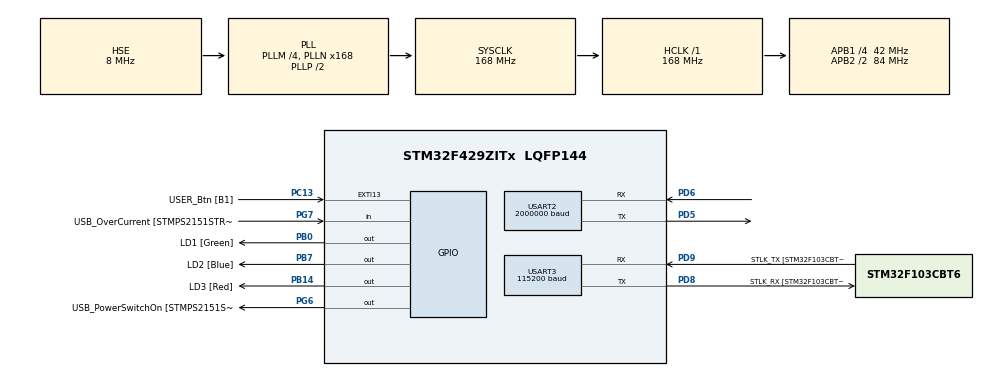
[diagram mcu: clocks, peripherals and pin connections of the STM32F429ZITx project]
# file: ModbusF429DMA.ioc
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Dma.Request0=USART3_RX
Dma.Request1=USART3_TX
Dma.Request2=USART2_RX
Dma.Request3=USART2_TX
Dma.USART2_RX.2.Direction=DMA_PERIPH_TO_MEMORY
Dma.USART2_RX.2.FIFOMode=DMA_FIFOMODE_DISABLE
Dma.USART2_RX.2.Instance=DMA1_Stream5
Dma.USART2_RX.2.MemDataAlignment=DMA_MDATAALIGN_BYTE
Dma.USART2_RX.2.MemInc=DMA_MINC_ENABLE
Dma.USART2_RX.2.Mode=DMA_NORMAL
Dma.USART2_RX.2.PeriphDataAlignment=DMA_PDATAALIGN_BYTE
Dma.USART2_RX.2.PeriphInc=DMA_PINC_DISABLE
Dma.USART2_RX.2.Priority=DMA_PRIORITY_LOW
Dma.USART2_TX.3.Direction=DMA_MEMORY_TO_PERIPH
Dma.USART2_TX.3.FIFOMode=DMA_FIFOMODE_DISABLE
Dma.USART2_TX.3.Instance=DMA1_Stream6
Dma.USART2_TX.3.MemDataAlignment=DMA_MDATAALIGN_BYTE
Dma.USART2_TX.3.MemInc=DMA_MINC_ENABLE
Dma.USART2_TX.3.Mode=DMA_NORMAL
Dma.USART2_TX.3.PeriphDataAlignment=DMA_PDATAALIGN_BYTE
Dma.USART2_TX.3.PeriphInc=DMA_PINC_DISABLE
Dma.USART2_TX.3.Priority=DMA_PRIORITY_LOW
Dma.USART3_RX.0.Direction=DMA_PERIPH_TO_MEMORY
Dma.USART3_RX.0.FIFOMode=DMA_FIFOMODE_DISABLE
Dma.USART3_RX.0.Instance=DMA1_Stream1
Dma.USART3_RX.0.MemDataAlignment=DMA_MDATAALIGN_BYTE
Dma.USART3_RX.0.MemInc=DMA_MINC_ENABLE
Dma.USART3_RX.0.Mode=DMA_NORMAL
Dma.USART3_RX.0.PeriphDataAlignment=DMA_PDATAALIGN_BYTE
Dma.USART3_RX.0.PeriphInc=DMA_PINC_DISABLE
Dma.USART3_RX.0.Priority=DMA_PRIORITY_LOW
Dma.USART3_TX.1.Direction=DMA_MEMORY_TO_PERIPH
Dma.USART3_TX.1.FIFOMode=DMA_FIFOMODE_DISABLE
Dma.USART3_TX.1.Instance=DMA1_Stream3
Dma.USART3_TX.1.MemDataAlignment=DMA_MDATAALIGN_BYTE
Dma.USART3_TX.1.MemInc=DMA_MINC_ENABLE
Dma.USART3_TX.1.Mode=DMA_NORMAL
Dma.USART3_TX.1.PeriphDataAlignment=DMA_PDATAALIGN_BYTE
Dma.USART3_TX.1.PeriphInc=DMA_PINC_DISABLE
Dma.USART3_TX.1.Priority=DMA_PRIORITY_LOW
FREERTOS.Tasks01=defaultTask,24,256,StartDefaultTask,Default,NULL,Dynamic,NULL,NULL;myTaskMaster,8,256,StartTaskMaster,Default,NULL,Dynamic,NULL,NULL;myTaskSlave,8,256,StartTaskSlave,Default,NULL,Dynamic,NULL,NULL
FREERTOS.configMINIMAL_STACK_SIZE=256
FREERTOS.configTOTAL_HEAP_SIZE=15360
Mcu.Family=STM32F4
Mcu.Name=STM32F429ZITx
Mcu.Package=LQFP144
NVIC.DMA1_Stream1_IRQn=true\:5\:0\:false\:false\:true\:true\:false\:true
NVIC.DMA1_Stream3_IRQn=true\:5\:0\:false\:false\:true\:true\:false\:true
NVIC.DMA1_Stream5_IRQn=true\:5\:0\:false\:false\:true\:true\:false\:true
NVIC.DMA1_Stream6_IRQn=true\:5\:0\:false\:false\:true\:true\:false\:true
NVIC.PriorityGroup=NVIC_PRIORITYGROUP_4
NVIC.TIM8_TRG_COM_TIM14_IRQn=true\:0\:0\:false\:false\:true\:false\:false\:true
NVIC.TimeBase=TIM8_TRG_COM_TIM14_IRQn
NVIC.TimeBaseIP=TIM14
NVIC.USART2_IRQn=true\:5\:0\:false\:false\:true\:true\:true\:true
NVIC.USART3_IRQn=true\:5\:0\:false\:false\:true\:true\:true\:true
PA1.GPIO_Label=RMII_REF_CLK [LAN8742A-CZ-TR_REFCLK0]
PA1.Signal=ETH_REF_CLK
PA10.GPIO_Label=USB_ID
PA10.Signal=USB_OTG_FS_ID
PA11.GPIO_Label=USB_DM
PA11.Signal=USB_OTG_FS_DM
PA12.GPIO_Label=USB_DP
PA12.Signal=USB_OTG_FS_DP
PA13.GPIO_Label=TMS
PA13.Mode=Trace_Asynchronous_SW
PA13.Signal=SYS_JTMS-SWDIO
PA14.GPIO_Label=TCK
PA14.Mode=Trace_Asynchronous_SW
PA14.Signal=SYS_JTCK-SWCLK
PA2.GPIO_Label=RMII_MDIO [LAN8742A-CZ-TR_MDIO]
PA2.Signal=ETH_MDIO
PA7.GPIO_Label=RMII_CRS_DV [LAN8742A-CZ-TR_CRS_DV]
PA7.Signal=ETH_CRS_DV
PA8.GPIO_Label=USB_SOF [TP1]
PA8.Signal=USB_OTG_FS_SOF
PA9.GPIO_Label=USB_VBUS
PA9.Signal=USB_OTG_FS_VBUS
PB0.GPIO_Label=LD1 [Green]
PB0.Signal=GPIO_Output
PB13.GPIO_Label=RMII_TXD1 [LAN8742A-CZ-TR_TXD1]
PB13.Signal=ETH_TXD1
PB14.GPIO_Label=LD3 [Red]
PB14.Signal=GPIO_Output
PB3.Mode=Trace_Asynchronous_SW
PB3.Signal=SYS_JTDO-SWO
PB7.GPIO_Label=LD2 [Blue]
PB7.Signal=GPIO_Output
PC1.GPIO_Label=RMII_MDC [LAN8742A-CZ-TR_MDC]
PC1.Signal=ETH_MDC
PC13.GPIO_Label=USER_Btn [B1]
PC13.Signal=GPXTI13
PC14/OSC32_IN.Mode=LSE-External-Oscillator
PC14/OSC32_IN.Signal=RCC_OSC32_IN
PC15/OSC32_OUT.Mode=LSE-External-Oscillator
PC15/OSC32_OUT.Signal=RCC_OSC32_OUT
PC4.GPIO_Label=RMII_RXD0 [LAN8742A-CZ-TR_RXD0]
PC4.Signal=ETH_RXD0
PC5.GPIO_Label=RMII_RXD1 [LAN8742A-CZ-TR_RXD1]
PC5.Signal=ETH_RXD1
PD5.Mode=Asynchronous
PD5.Signal=USART2_TX
PD6.Mode=Asynchronous
PD6.Signal=USART2_RX
PD8.GPIO_Label=STLK_RX [STM32F103CBT6_PA3]
PD8.Mode=Asynchronous
PD8.Signal=USART3_TX
PD9.GPIO_Label=STLK_TX [STM32F103CBT6_PA2]
PD9.Mode=Asynchronous
PD9.Signal=USART3_RX
PG11.GPIO_Label=RMII_TX_EN [LAN8742A-CZ-TR_TXEN]
PG11.Signal=ETH_TX_EN
PG13.GPIO_Label=RMII_TXD0 [LAN8742A-CZ-TR_TXD0]
PG13.Signal=ETH_TXD0
PG6.GPIO_Label=USB_PowerSwitchOn [STMPS2151STR_EN]
PG6.Signal=GPIO_Output
PG7.GPIO_Label=USB_OverCurrent [STMPS2151STR_FAULT]
PG7.Signal=GPIO_Input
PH0/OSC_IN.GPIO_Label=MCO [STM32F103CBT6_PA8]
PH0/OSC_IN.Mode=HSE-External-Clock-Source
PH0/OSC_IN.Signal=RCC_OSC_IN
PH1/OSC_OUT.Mode=HSE-External-Clock-Source
PH1/OSC_OUT.Signal=RCC_OSC_OUT
ProjectManager.HeapSize=0x200
ProjectManager.StackSize=0x400
ProjectManager.TargetToolchain=STM32CubeIDE
RCC.48MHZClocksFreq_Value=48000000
RCC.AHBFreq_Value=168000000
RCC.APB1CLKDivider=RCC_HCLK_DIV4
RCC.APB1Freq_Value=42000000
RCC.APB1TimFreq_Value=84000000
RCC.APB2CLKDivider=RCC_HCLK_DIV2
RCC.APB2Freq_Value=84000000
RCC.APB2TimCLKDivider=2
RCC.APB2TimFreq_Value=168000000
RCC.CortexFreq_Value=168000000
RCC.HCLKFreq_Value=168000000
RCC.HSE_VALUE=8000000
RCC.HSI_VALUE=16000000
RCC.PLLM=4
RCC.PLLMUL=RCC_PLL_MUL9
RCC.PLLN=168
RCC.PLLQ=7
RCC.PLLSourceVirtual=RCC_PLLSOURCE_HSE
RCC.PRESCALERUSB=RCC_USBCLKSOURCE_PLL_DIV1_5
RCC.SYSCLKFreq_VALUE=168000000
RCC.SYSCLKSource=RCC_SYSCLKSOURCE_PLLCLK
RCC.SYSCLKSourceVirtual=RCC_SYSCLKSOURCE_PLLCLK
RCC.USBFreq_Value=48000000
RCC.VCOOutputFreq_Value=336000000
USART2.BaudRate=2000000
USART2.OverSampling=UART_OVERSAMPLING_16
USART2.VirtualMode=VM_ASYNC
USART3.BaudRate=115200
USART3.VirtualMode=VM_ASYNC
VP_FREERTOS_VS_CMSIS_V2.Mode=CMSIS_V2
VP_SYS_VS_tim14.Mode=TIM14
board=NUCLEO-F429ZI

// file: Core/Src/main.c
/* USER CODE BEGIN Header */
/**
  ******************************************************************************
  * @file           : main.c
  * @brief          : Main program body
  ******************************************************************************
  * @attention
  *
  * <h2><center>&copy; Copyright (c) 2021 STMicroelectronics.
  * All rights reserved.</center></h2>
  *
  * This software component is licensed by ST under BSD 3-Clause license,
  * the "License"; You may not use this file except in compliance with the
  * License. You may obtain a copy of the License at:
  *                        opensource.org/licenses/BSD-3-Clause
  *
  ******************************************************************************
  */
/* USER CODE END Header */
#include "main.h"
#include "cmsis_os.h"
#include "dma.h"
#include "usart.h"
#include "gpio.h"

void SystemClock_Config(void);
void MX_FREERTOS_Init(void);
/* USER CODE BEGIN PFP */
uint8_t test[]="alejandro\n";
/* USER CODE END PFP */

/* USER CODE BEGIN 0 */
modbusHandler_t ModbusH;
uint16_t ModbusDATA[128];
modbusHandler_t ModbusH2;
uint16_t ModbusDATA2[128];

#if defined(__GNUC__)
int _write(int fd, char * ptr, int len)
{
  //HAL_UART_Transmit(&huart1, (uint8_t *) ptr, len, HAL_MAX_DELAY);
  for (int i = 0; i < len; i++)
	  ITM_SendChar(*(ptr+i));
  return len;
}
#endif

/* USER CODE END 0 */

int main(void)
{

  /* MCU Configuration--------------------------------------------------------*/

  /* Reset of all peripherals, Initializes the Flash interface and the Systick. */
  HAL_Init();

  /* Configure the system clock */
  SystemClock_Config();

  /* Initialize all configured peripherals */
  MX_GPIO_Init();
  MX_DMA_Init();
  MX_USART3_UART_Init();
  MX_USART2_UART_Init();
  /* USER CODE BEGIN 2 */

/* Slave initialization */

    ModbusH.uModbusType = MB_SLAVE;
    ModbusH.port =  &huart3;
    ModbusH.u8id = 1; // For master it must be 0
    ModbusH.u16timeOut = 1000;
    ModbusH.EN_Port = NULL;
    ModbusH.EN_Port = NULL;
    ModbusH.EN_Pin = 0;
    ModbusH.u16regs = ModbusDATA;
    ModbusH.u16regsize= sizeof(ModbusDATA)/sizeof(ModbusDATA[0]);
    ModbusH.xTypeHW = USART_HW_DMA;
    //Initialize Modbus library
    ModbusInit(&ModbusH);
    //Start capturing traffic on serial Port
    ModbusStart(&ModbusH);

/***********/

/* Master initialization */

    ModbusH2.uModbusType = MB_MASTER;
    ModbusH2.port =  &huart2;
    ModbusH2.u8id = 0; // For master it must be 0
    ModbusH2.u16timeOut = 1000;
    ModbusH2.EN_Port = NULL;
    ModbusH2.EN_Port = NULL;
    ModbusH2.EN_Pin = 0;
    ModbusH2.u16regs = ModbusDATA2;
    ModbusH2.u16regsize= sizeof(ModbusDATA2)/sizeof(ModbusDATA2[0]);
    ModbusH2.xTypeHW = USART_HW_DMA;
    //Initialize Modbus library
    ModbusInit(&ModbusH2);
    //Start capturing traffic on serial Port
    ModbusStart(&ModbusH2);
/***********/

  /* USER CODE END 2 */

  /* Init scheduler */
  osKernelInitialize();  /* Call init function for freertos objects (in freertos.c) */
  MX_FREERTOS_Init();
  /* Start scheduler */
  osKernelStart();

  /* We should never get here as control is now taken by the scheduler */
  /* Infinite loop */
  while (1)
  {

  }
}

void SystemClock_Config(void)
{
  RCC_OscInitTypeDef RCC_OscInitStruct = {0};
  RCC_ClkInitTypeDef RCC_ClkInitStruct = {0};

  /** Configure the main internal regulator output voltage
  */
  __HAL_RCC_PWR_CLK_ENABLE();
  __HAL_PWR_VOLTAGESCALING_CONFIG(PWR_REGULATOR_VOLTAGE_SCALE1);
  /** Initializes the RCC Oscillators according to the specified parameters
  * in the RCC_OscInitTypeDef structure.
  */
  RCC_OscInitStruct.OscillatorType = RCC_OSCILLATORTYPE_HSE;
  RCC_OscInitStruct.HSEState = RCC_HSE_BYPASS;
  RCC_OscInitStruct.PLL.PLLState = RCC_PLL_ON;
  RCC_OscInitStruct.PLL.PLLSource = RCC_PLLSOURCE_HSE;
  RCC_OscInitStruct.PLL.PLLM = 4;
  RCC_OscInitStruct.PLL.PLLN = 168;
  RCC_OscInitStruct.PLL.PLLP = RCC_PLLP_DIV2;
  RCC_OscInitStruct.PLL.PLLQ = 7;
  if (HAL_RCC_OscConfig(&RCC_OscInitStruct) != HAL_OK)
  {
    Error_Handler();
  }
  /** Initializes the CPU, AHB and APB buses clocks
  */
  RCC_ClkInitStruct.ClockType = RCC_CLOCKTYPE_HCLK|RCC_CLOCKTYPE_SYSCLK
                              |RCC_CLOCKTYPE_PCLK1|RCC_CLOCKTYPE_PCLK2;
  RCC_ClkInitStruct.SYSCLKSource = RCC_SYSCLKSOURCE_PLLCLK;
  RCC_ClkInitStruct.AHBCLKDivider = RCC_SYSCLK_DIV1;
  RCC_ClkInitStruct.APB1CLKDivider = RCC_HCLK_DIV4;
  RCC_ClkInitStruct.APB2CLKDivider = RCC_HCLK_DIV2;

  if (HAL_RCC_ClockConfig(&RCC_ClkInitStruct, FLASH_LATENCY_5) != HAL_OK)
  {
    Error_Handler();
  }
}

void HAL_TIM_PeriodElapsedCallback(TIM_HandleTypeDef *htim)
{
  if (htim->Instance == TIM14) {
    HAL_IncTick();
  }
}

void Error_Handler(void)
{
  __disable_irq();
  while (1)
  {
  }
}

/************************ (C) COPYRIGHT STMicroelectronics *****END OF FILE****/

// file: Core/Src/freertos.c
/* USER CODE BEGIN Header */
/**
  ******************************************************************************
  * File Name          : freertos.c
  * Description        : Code for freertos applications
  ******************************************************************************
  * @attention
  *
  * <h2><center>&copy; Copyright (c) 2021 STMicroelectronics.
  * All rights reserved.</center></h2>
  *
  * This software component is licensed by ST under Ultimate Liberty license
  * SLA0044, the "License"; You may not use this file except in compliance with
  * the License. You may obtain a copy of the License at:
  *                             www.st.com/SLA0044
  *
  ******************************************************************************
  */
/* USER CODE END Header */

#include "FreeRTOS.h"
#include "task.h"
#include "main.h"
#include "cmsis_os.h"
#include <stdio.h>

/* USER CODE BEGIN Includes */
#include "semphr.h"
/* USER CODE END Includes */

/* USER CODE BEGIN Variables */
modbus_t telegram[2];
/* USER CODE END Variables */
/* Definitions for defaultTask */
osThreadId_t defaultTaskHandle;
const osThreadAttr_t defaultTask_attributes = {
  .name = "defaultTask",
  .stack_size = 256 * 4,
  .priority = (osPriority_t) osPriorityNormal,
};
/* Definitions for myTaskMaster */
osThreadId_t myTaskMasterHandle;
const osThreadAttr_t myTaskMaster_attributes = {
  .name = "myTaskMaster",
  .stack_size = 256 * 4,
  .priority = (osPriority_t) osPriorityLow,
};
/* Definitions for myTaskSlave */
osThreadId_t myTaskSlaveHandle;
const osThreadAttr_t myTaskSlave_attributes = {
  .name = "myTaskSlave",
  .stack_size = 256 * 4,
  .priority = (osPriority_t) osPriorityLow,
};

void StartDefaultTask(void *argument);
void StartTaskMaster(void *argument);
void StartTaskSlave(void *argument);

void MX_FREERTOS_Init(void); /* (MISRA C 2004 rule 8.1) */

void MX_FREERTOS_Init(void) {

  /* Create the thread(s) */
  /* creation of defaultTask */
  defaultTaskHandle = osThreadNew(StartDefaultTask, NULL, &defaultTask_attributes);

  /* creation of myTaskMaster */
  myTaskMasterHandle = osThreadNew(StartTaskMaster, NULL, &myTaskMaster_attributes);

  /* creation of myTaskSlave */
  myTaskSlaveHandle = osThreadNew(StartTaskSlave, NULL, &myTaskSlave_attributes);

}

void StartDefaultTask(void *argument)
{
  for(;;)
  {
    osDelay(1);
  }
}

void StartTaskMaster(void *argument)
{
  /* USER CODE BEGIN StartTaskMaster */
	uint32_t u32NotificationValue;

	telegram[0].u8id = 1; // slave address
	telegram[0].u8fct = 3; // function code (this one is registers read)
	//telegram[0].u16RegAdd = 0x160; // start address in slave
	telegram[0].u16RegAdd = 0x0; // start address in slave
	telegram[0].u16CoilsNo = 1; // number of elements (coils or registers) to read
	telegram[0].u16reg = ModbusDATA2; // pointer to a memory array

	// telegram 0: read registers
	telegram[1].u8id = 1; // slave address
	telegram[1].u8fct = 6; // function code (this one is registers write)
	//telegram[1].u16RegAdd = 0x160; // start address in slave
	telegram[1].u16RegAdd = 0x0;
	telegram[1].u16CoilsNo = 1; // number of elements (coils or registers) to read
	telegram[1].u16reg = ModbusDATA2; // pointer to a memory array

    /* Infinite loop */
    for(;;)
    {

    	  ModbusQuery(&ModbusH2, telegram[0]); // make a query
    	  u32NotificationValue = ulTaskNotifyTake(pdTRUE, 500); // block until query finishes or timeout
    	  if(u32NotificationValue)
    	  {
    		//handle error
    		//  while(1);
    	  }
    	  osDelay(500);

    	  ModbusDATA2[0]++;
    	  ModbusQuery(&ModbusH2, telegram[1]); // make a query
    	  u32NotificationValue = ulTaskNotifyTake(pdTRUE, 500); // block until query finishes or timeout
    	  if(u32NotificationValue)
    	  {
    			//handle error
    			//  while(1);
    	  }

    	  osDelay(500);
    }
  /* USER CODE END StartTaskMaster */
}

void StartTaskSlave(void *argument)
{
  /* USER CODE BEGIN StartTaskSlave */
  /* Infinite loop */
  for(;;)
  {
		xSemaphoreTake(ModbusH.ModBusSphrHandle , portMAX_DELAY);
		HAL_GPIO_WritePin(LD2_GPIO_Port, LD2_Pin, ModbusH.u16regs[0] & 0x1);
		printf("reg 0:%d, reg 1: %d\r\n", ModbusH.u16regs[0], ModbusH.u16regs[1]);
		printf("reg 2:%d, reg 3: %d\r\n", ModbusH.u16regs[2], ModbusH.u16regs[3]);
		xSemaphoreGive(ModbusH.ModBusSphrHandle);

		osDelay(200);
  }
  /* USER CODE END StartTaskSlave */
}

/************************ (C) COPYRIGHT STMicroelectronics *****END OF FILE****/
